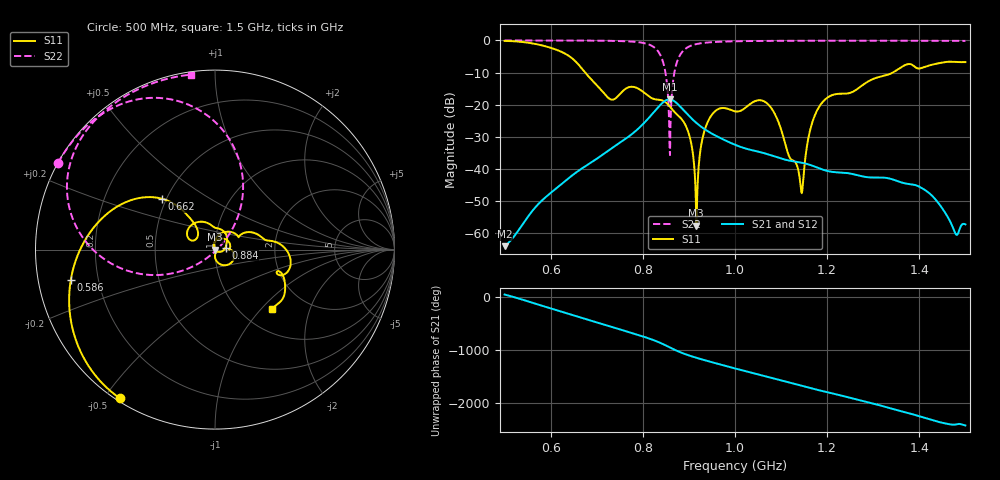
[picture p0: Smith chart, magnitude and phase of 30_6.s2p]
! TOUCHSTONE file generated by CST MICROWAVE STUDIO
! Date and time: Fri Oct  2 18:58:50 2020
! Project name: Scenario_1_Free_Space_out_of_line.cst
! Parameters = {Lambda=346.42; Step_1=17.321; dy1=-155.249; dx1=1039; L_HA=400; MT=2.54; Rad_Dielectric=30; Rad_Lower=7.3; Rad_Upper=30; a_HA=580; a_WG=246; b_HA=500; b_WG=121; c_HA=0; c_WG=187; d_feed=85; h_feed=15; h_lower=18; h_upper=40}
! Header version: 2018
! Port assignment regex: !\s*Touchstone port\s*([0-9]+)\s*=\s*(CST MWS port|CST DS port)\s*([0-9]+|Zmin|Zmax)\s*\(\"(.*)\"\)(\s*mode\s*([0-9]+))?.*
! Touchstone port assignment:
! Touchstone port 1 = CST MWS port 1 ("")
! Touchstone port 2 = CST MWS port 2 ("")
# GHz S DB R 50
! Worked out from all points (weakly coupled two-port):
!   1003 points, 500 MHz to 1.5 GHz, reference 50 ohm
!   highest |S21| = -18.37 dB at 858 MHz (marker M1); lowest = -64.1 dB at 500 MHz (marker M2)
!   lowest |S11| = -57.7 dB at 916 MHz (marker M3), VSWR 1.00, Z = 50 - j0.128 ohm
!   |S11| at or under -10 dB: 674.8 MHz to 1.343 GHz (667.7 MHz wide, 66.2 % of centre)
!   |S22| runs from -35.7 to 0.0 dB; largest |S21 - S12| = 0.00018
!   S11 on the Smith chart (normalised r, x): 500 MHz: 0.01, -0.55; 586 MHz: 0.10, -0.10; 662 MHz: 0.48, +0.32; 884 MHz: 1.12, +0.02; 1.5 GHz: 1.37, -1.15
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0.5  -0.15 -122.5  -64.10 45.3  -64.10 45.3  -0.01 151.1
0.586  -1.72 -168.3  -49.21 -179.0  -49.21 -179.0  -0.02 145.1
0.662  -7.79 136.1  -40.45 -20.1  -40.45 -20.1  -0.04 138.8
0.667  -8.64 133.4  -39.96 -33.5  -39.96 -33.5  -0.04 138.3
0.73  -18.35 143.2  -33.84 162.1  -33.84 162.1  -0.13 130.7
0.834  -18.48 81.9  -20.70 -130.9  -20.70 -130.9  -3.58 85.9
0.848  -19.11 61.3  -18.84 174.1  -18.84 174.1  -9.20 63.5
0.858  -20.48 45.1  -18.37 130.9  -18.37 130.9  -33.57 24.7
0.869  -22.34 31.2  -19.01 84.1  -19.01 84.1  -9.57 -154.9
0.884  -24.49 10.7  -21.05 28.0  -21.05 28.0  -3.83 -177.0
0.903  -30.78 -26.8  -23.91 -30.9  -23.90 -31.0  -1.72 166.8
0.916  -57.72 -100.2  -25.67 -66.2  -25.67 -66.2  -1.15 159.9
0.943  -24.74 75.7  -28.47 -133.5  -28.47 -133.5  -0.61 150.7
1  -22.09 1.2  -32.50 92.5  -32.50 92.5  -0.26 140.2
1.074  -20.22 -62.7  -35.59 -75.7  -35.59 -75.7  -0.14 132.0
1.144  -47.18 17.0  -38.08 128.7  -38.08 128.7  -0.10 126.0
1.167  -25.87 90.5  -38.99 75.4  -38.99 75.4  -0.10 124.1
1.202  -17.68 49.2  -40.72 0.8  -40.72 0.8  -0.09 121.4
1.334  -10.57 9.9  -42.98 69.3  -42.98 69.3  -0.09 111.4
1.421  -7.82 -21.1  -47.52 -143.9  -47.52 -143.9  -0.11 104.6
1.48  -6.72 -41.7  -60.49 117.2  -60.56 116.4  -0.13 99.6
1.5  -6.75 -46.3  -57.30 97.8  -57.23 97.7  -0.14 97.8
